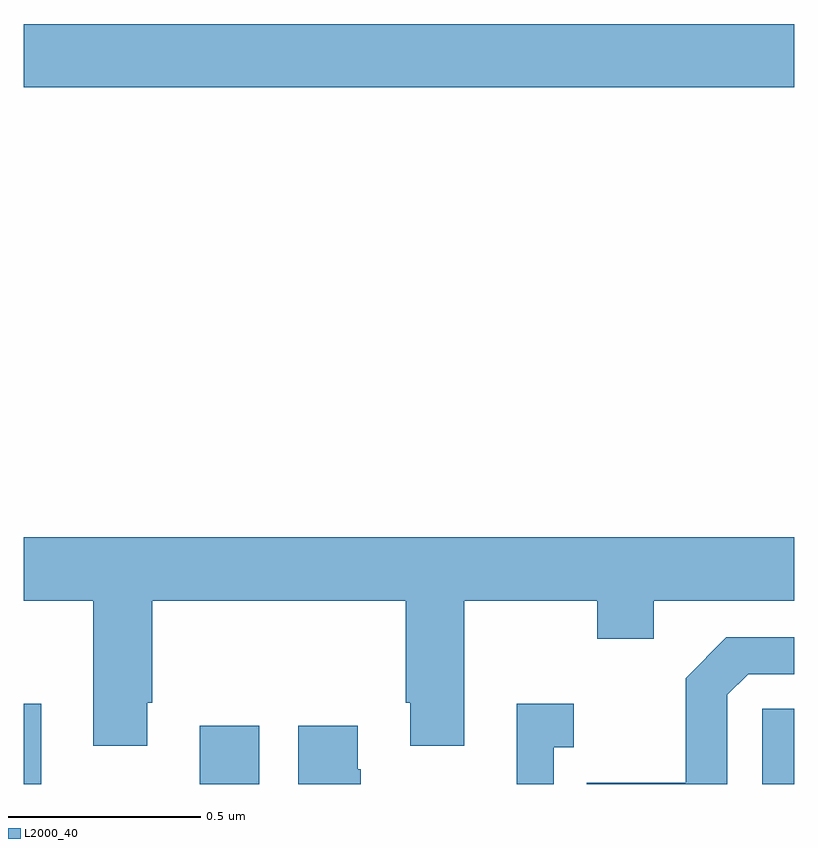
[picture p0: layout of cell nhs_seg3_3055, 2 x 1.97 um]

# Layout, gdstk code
import gdstk
lib = gdstk.Library(unit=1e-6, precision=1e-09)
def R(c, l, rs):  # rectangles x0, y0, x1, y1
    for r in rs: c.add(gdstk.rectangle(r[:2], r[2:], *l))
def P(c, l, *ps):  # polygons
    for p in ps: c.add(gdstk.Polygon(p, *l))
L2000_40 = (2000, 40)

nhs_seg3_3055 = lib.new_cell('nhs_seg3_3055')
R(nhs_seg3_3055, L2000_40, [(148,740.4,148.046,740.608), (148.457,740.4,148.612,740.551), (149.916,740.4,150,740.595), (148,742.208,150,742.372)])
P(nhs_seg3_3055, L2000_40, [(148.321,740.611),(148.334,740.611),(148.334,740.876),(148.991,740.876),(148.991,740.611),(149.003,740.611),(149.003,740.499),(149.143,740.499),(149.143,740.876),(149.488,740.876),(149.488,740.777),(149.635,740.777),(149.635,740.876),(150,740.876),(150,741.04),(148,741.04),(148,740.876),(148.181,740.876),(148.181,740.499),(148.321,740.499)],
  [(149.826,740.631),(149.88,740.685),(150,740.685),(150,740.781),(149.823,740.781),(149.718,740.675),(149.718,740.403),(149.461,740.403),(149.461,740.4),(149.826,740.4)],
  [(149.376,740.495),(149.428,740.495),(149.428,740.608),(149.279,740.608),(149.279,740.4),(149.376,740.4)],
  [(148.875,740.438),(148.867,740.438),(148.867,740.551),(148.712,740.551),(148.712,740.4),(148.875,740.4)])

lib.write_gds('nhs_seg3_3055.gds')
